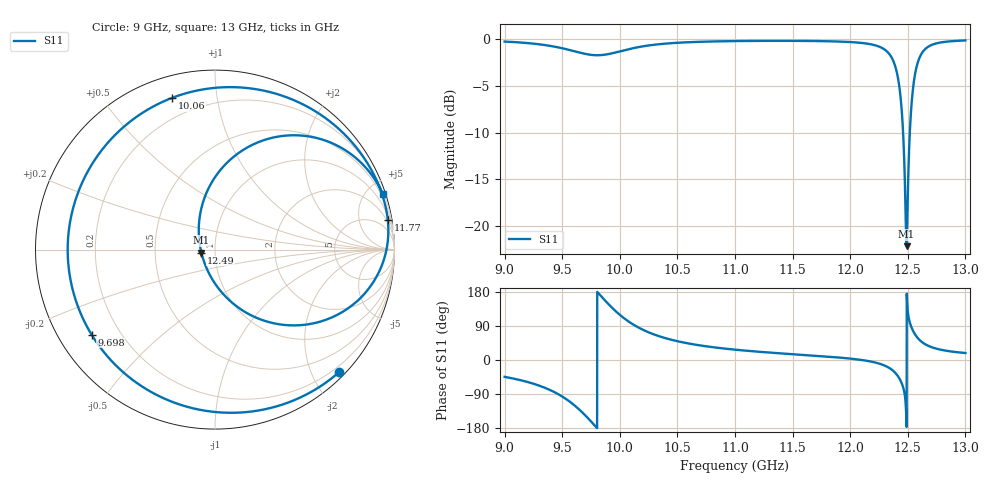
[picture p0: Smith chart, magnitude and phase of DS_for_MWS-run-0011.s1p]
! TOUCHSTONE file generated by CST DESIGN STUDIO
! Date and time: Wed Feb  5 13:44:28 2025
! Project name: C:\Work\MatlabApps\UnitCellOptimizationMatlab\CST\unitcell.cst
! Tree item: Tasks\Sweep1\SPara1\S-Parameters
! Header version: 2024
! Port assignment regex: !\s*Touchstone port\s*([0-9]+)\s*=\s*(CST MWS port|CST DES external port|CST DES block port)\s*(.+)\s* \(\"(.*)\"\)(\s*mode\s*([0-9]+))?.*
! Touchstone port assignment:
! Touchstone port 1 = CST DES external port 1 ("")
# GHz S MA R 50
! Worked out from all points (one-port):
!   4001 points, 9 GHz to 13 GHz, reference 50 ohm
!   lowest |S11| = -22.2 dB at 12.49 GHz (marker M1), VSWR 1.17, Z = 42.9 - j1.4 ohm
!   |S11| at or under -10 dB: 12.45913 GHz to 12.51758 GHz (58.45 MHz wide, 0.468 % of centre)
!   S11 on the Smith chart (normalised r, x): 9 GHz: 0.10, -2.44; 9.698 GHz: 0.10, -0.31; 10.06 GHz: 0.10, +0.75; 11.77 GHz: 2, +12; 12.49 GHz: 0.86, -0.03; 13 GHz: 0.29, +6.14
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9  0.9716 -44.5
9.275  0.9437 -65.0
9.5  0.895 -96.4
9.603  0.8631 -118.8
9.698  0.8351 -145.4
9.77  0.8224 -168.8
9.838  0.8223 168.2
9.923  0.838 140.8
10  0.8608 119.2
10.056  0.8784 105.9
10.263  0.9286 71.4
10.5  0.9574 49.6
11  0.9776 27.3
11.5  0.9803 15.3
11.773  0.9766 9.6
12  0.9662 3.7
12.263  0.9065 -10.6
12.383  0.7409 -31.3
12.442  0.4557 -57.7
12.477  0.1501 -99.6
12.489  0.07771 -167.9
12.5  0.1457 128.4
12.521  0.3483 95.5
12.538  0.4918 81.8
12.598  0.7861 54.1
12.654  0.8894 41.1
12.729  0.9431 31.6
13  0.9852 18.5
